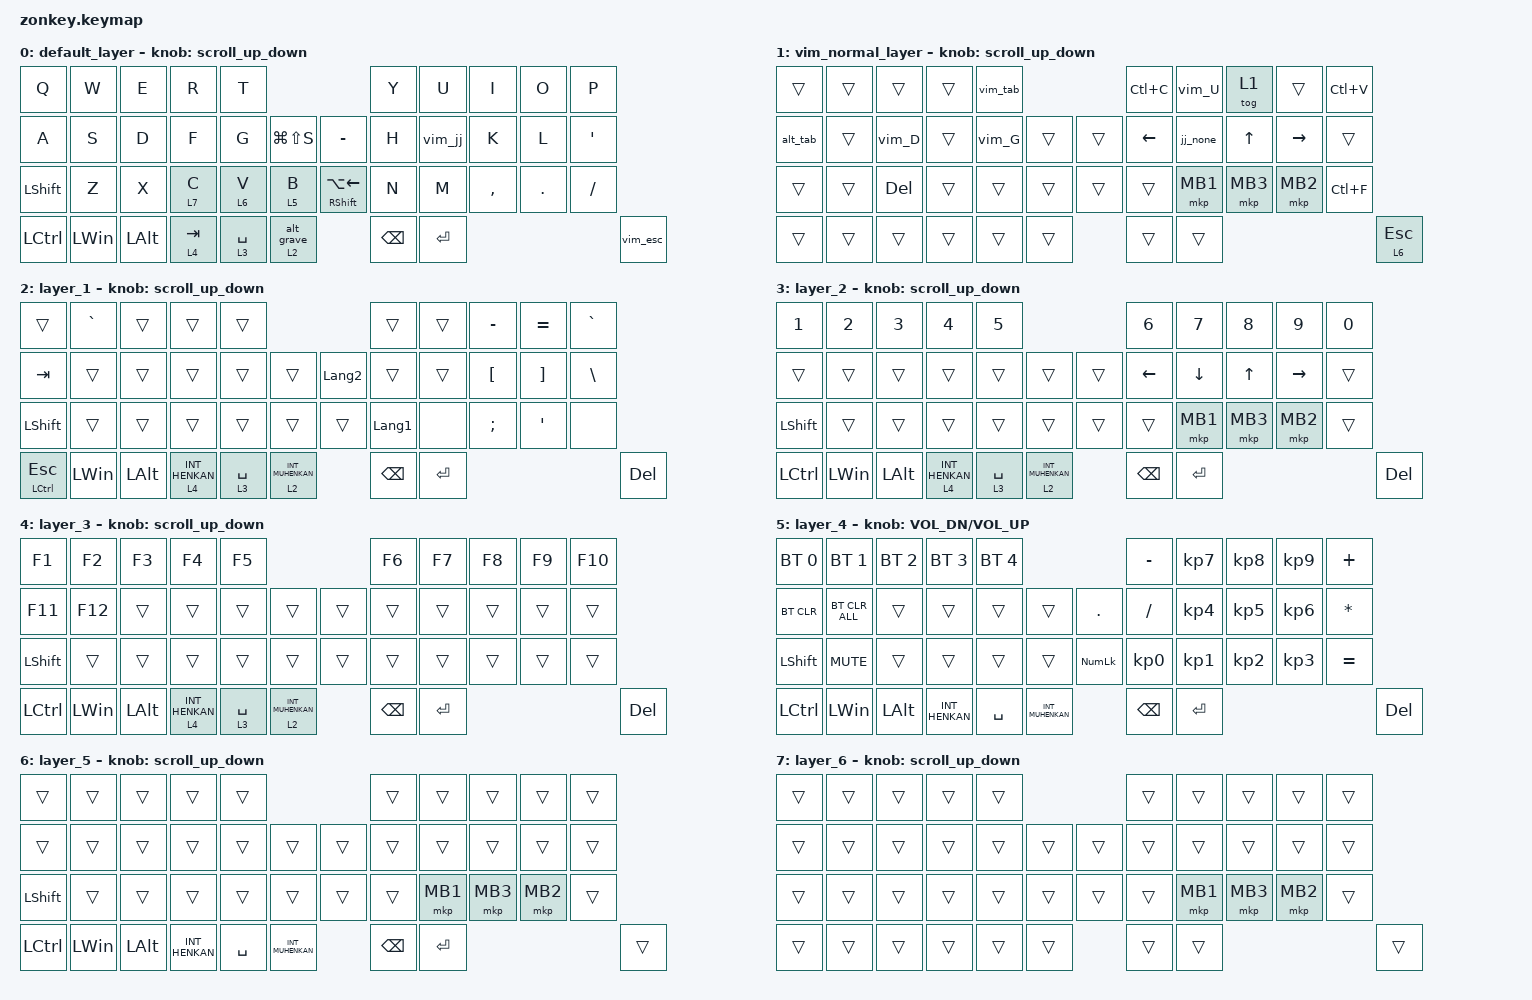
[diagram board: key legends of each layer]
#include <behaviors.dtsi>
#include <dt-bindings/zmk/bt.h>
#include <dt-bindings/zmk/keys.h>
#include <dt-bindings/zmk/pointing.h>

#define ZMK_POINTING_DEFAULT_SCRL_VAL 100
#define MOUSE 6
#define JP_DQUOTE       AT                // "
#define JP_AMPERSAND    CARET             // &
#define JP_QUOTE        AMPERSAND         // '
#define JP_EQUAL        UNDER             // =
#define JP_CARET        EQUAL             // ^
#define JP_YEN          0x89              // ¥
#define JP_PLUS         COLON             // +
#define JP_TILDE        PLUS              // ~
#define JP_PIPE         LS(0x89)          // |
#define JP_AT           LEFT_BRACKET      // @
#define JP_COLON        SINGLE_QUOTE      // :
#define JP_ASTERISK     DOUBLE_QUOTES     // *
#define JP_BACKQUOTE    LEFT_BRACE        // `
#define JP_UNDERSCORE   LS(0x87)          // _
#define JP_LBRACKET     RIGHT_BRACKET     // [
#define JP_RBRACKET     BACKSLASH         // ]
#define JP_LPAREN       ASTERISK          // (
#define JP_RPAREN       LEFT_PARENTHESIS  // )
#define JP_LBRACE       RIGHT_BRACE       // {
#define JP_RBRACE       PIPE              // }
#define JP_KANA         LANGUAGE_1        // かな
#define JP_EISU         LANGUAGE_2        // 英数
#define JP_HANZEN       GRAVE             // 半角/全角
#define JP_BSLH  INT1         // (backslash)

&mt {
    flavor = "balanced";
    quick-tap-ms = <0>;
};

/ {
    combos { compatible = "zmk,combos"; };

    macros {
        to_layer_0: to_layer_0 {
            compatible = "zmk,behavior-macro-one-param";
            #binding-cells = <1>;
            bindings = <&to 0 &macro_param_1to1 &kp MACRO_PLACEHOLDER>;
            label = "TO_LAYER_0";
        };

        alt_grave: alt_grave {
            compatible = "zmk,behavior-macro";
            #binding-cells = <0>;
            bindings =
                <&macro_press>,
                <&kp LEFT_ALT>,
                <&macro_wait_time 100>,
                <&macro_tap>,
                <&kp GRAVE>,
                <&macro_release>,
                <&kp LEFT_ALT>;

            label = "ALT_GRAVE";
        };
    };

    behaviors {
        lt_to_layer_0: lt_to_layer_0 {
            compatible = "zmk,behavior-hold-tap";
            label = "LAYER_TAP_TO_0";
            bindings = <&mo>, <&to_layer_0>;

            #binding-cells = <2>;
            tapping-term-ms = <200>;
        };

        scroll_up_down: behavior_sensor_rotate_mouse_wheel_up_down {
            compatible = "zmk,behavior-sensor-rotate";
            #sensor-binding-cells = <0>;
            bindings = <&msc SCRL_DOWN>, <&msc SCRL_UP>;

            tap-ms = <20>;
        };

        vim_U: vim_U {
            compatible = "zmk,behavior-mod-morph";
            label = "VIM_U";
            #binding-cells = <0>;
            bindings = <&kp LC(Z)>, <&kp PAGE_UP>;

            mods = <(MOD_LCTL)>;
        };

        vim_D: vim_D {
            compatible = "zmk,behavior-mod-morph";
            label = "VIM_D";
            #binding-cells = <0>;
            bindings = <&kp LC(X)>, <&kp PAGE_DOWN>;

            mods = <(MOD_LCTL)>;
        };

        vim_jj: vim_jj {
            compatible = "zmk,behavior-tap-dance";
            label = "VIM_JJ";
            #binding-cells = <0>;
            bindings = <&kp J>, <&tog 1>;
        };

        vim_gg: vim_gg {
            compatible = "zmk,behavior-tap-dance";
            label = "VIM_GG";
            #binding-cells = <0>;
            bindings = <&sk RIGHT_CONTROL>, <&kp HOME>;
        };

        vim_G: vim_G {
            compatible = "zmk,behavior-mod-morph";
            label = "VIM_G";
            bindings = <&vim_gg>, <&kp END>;

            #binding-cells = <0>;
            mods = <(MOD_LSFT)>;
        };

        vim_esc: vim_esc {
            compatible = "zmk,behavior-tap-dance";
            label = "VIM_ESC";
            #binding-cells = <0>;
            bindings = <&lt 6 ESC>, <&tog 1>;
        };

        lt2_alt_grave: lt2_alt_grave {
            compatible = "zmk,behavior-hold-tap";
            label = "LT2_ALT_GRAVE";
            bindings = <&mo>, <&alt_grave>;

            #binding-cells = <2>;
            tapping-term-ms = <200>;
        };

        vim_tab: vim_tab {
            compatible = "zmk,behavior-mod-morph";
            label = "VIM_TAB";
            bindings = <&kp T>, <&kp TAB>;

            #binding-cells = <0>;
            mods = <(MOD_RCTL)>;
            keep-mods = <(MOD_RCTL)>;
        };

        alt_tab: alt_tab {
            compatible = "zmk,behavior-mod-morph";
            label = "ALT_TAB";
            bindings = <&mt LCTRL A>, <&kp TAB>;

            #binding-cells = <0>;
            mods = <(MOD_LALT)>;
            keep-mods = <(MOD_LALT)>;
        };

        jj_none: jj_none {
            compatible = "zmk,behavior-tap-dance";
            label = "JJ_NONE";
            #binding-cells = <0>;
            bindings =
                <&kp DOWN>,
                <&none>,
                <&none>,
                <&none>,
                <&none>,
                <&none>,
                <&none>,
                <&none>;

            tapping-term-ms = <50>;
        };
    };

    keymap {
        compatible = "zmk,keymap";

        default_layer {
            // -----------------------------------------------------------------------------------------
            // |  Q  |  W  |  E  |  R  |  T  |                        |  Y  |  U   |  I  |  O  |  P  | 
            // |  A  |  S  |  D  |  F  |  G  |LS(LG(S))|        　 | - |  H  |  J   |  K  |  L  |  `  | 
            // |SHIFT|  Z  |  X  |  C  |  V  |  B  |           | ; |  N  |  M   |  ,  |  .  |  /  | 
            // | CTRL | WIN | ALT |HENKAN|SPACE|MUHENKAN|       | BS | ENT |      　　　　       | DEL |           

            bindings = <
&kp Q           &kp W         &kp E         &kp R      &kp T                                                              &kp Y          &kp U      &kp I      &kp O    &kp P
&kp A           &kp S         &kp D         &kp F      &kp G        &kp LG(LS(S))         &kp MINUS                       &kp H          &vim_jj    &kp K      &kp L    &kp SQT
&kp LEFT_SHIFT  &kp Z         &kp X         &lt 7 C    &lt 6 V      &lt 5 B               &mt RIGHT_SHIFT LA(LEFT_ARROW)  &kp N          &kp M      &kp COMMA  &kp DOT  &kp SLASH
&kp LCTRL       &kp LEFT_WIN  &kp LEFT_ALT  &lt 4 TAB  &lt 3 SPACE  &lt2_alt_grave 2 0                                    &kp BACKSPACE  &kp ENTER                                 &vim_esc
            >;

            sensor-bindings = <&scroll_up_down>;
        };

        vim_normal_layer {
            bindings = <
&trans    &trans  &trans      &trans  &vim_tab                    &kp LC(C)       &vim_U    &tog 1        &trans           &kp LC(V)
&alt_tab  &trans  &vim_D      &trans  &vim_G    &trans    &trans  &kp LEFT_ARROW  &jj_none  &kp UP_ARROW  &kp RIGHT_ARROW  &trans
&trans    &trans  &kp DELETE  &trans  &trans    &trans    &trans  &trans          &mkp MB1  &mkp MB3      &mkp MB2         &kp LC(F)
&trans    &trans  &trans      &trans  &trans    &trans            &trans          &trans                                              &lt 6 ESCAPE
            >;

            sensor-bindings = <&scroll_up_down>;
        };

        layer_1 {
            // -----------------------------------------------------------------------------------------
            // | 半角/全角 |CAPS|     |     |     |                     |     |     |  -  |  ^  |  ¥  |
            // | TAB |     |     |     |     |     |              |    |     |     |     |  @  |  [  |
            // |SHIFT|     |     |     |     |     |            | 英数 | かな |     |     |     |  ]  |
            // | CTRL| WIN | ALT |HENKAN|SPACE|MUHENKAN|         | BS | ENT |                   | DEL |

            bindings = <
&trans          &kp GRAVE     &trans        &trans            &trans                                          &trans         &trans     &kp MINUS         &kp EQUAL          &kp GRAVE
&kp TAB         &trans        &trans        &trans            &trans       &trans                &kp JP_EISU  &trans         &trans     &kp LEFT_BRACKET  &kp RIGHT_BRACKET  &kp BACKSLASH
&kp LEFT_SHIFT  &trans        &trans        &trans            &trans       &trans                &trans       &kp JP_KANA    &none      &kp SEMICOLON     &kp SQT            &none
&mt LCTL ESC    &kp LEFT_WIN  &kp LEFT_ALT  &lt 4 INT_HENKAN  &lt 3 SPACE  &lt 2 INT_MUHENKAN                 &kp BACKSPACE  &kp ENTER                                                      &kp DEL
            >;

            sensor-bindings = <&scroll_up_down>;
        };

        layer_2 {
            // -----------------------------------------------------------------------------------------
            // |  1  |  2  |  3  |  4  |  5  |                     |  6  |  7  |  8  |  9  |   0  |
            // |      |     |     |     |     |     |           |    |     |     |     |  ↑  |      |
            // |SHIFT|     |     |     |     |     |           |     |     |     |  ←  |  ↓  |  →  |
            // | CTRL| WIN | ALT |HENKAN|SPACE|MUHENKAN|         | BS | ENT |                   | DEL |

            bindings = <
&kp N1          &kp N2        &kp N3        &kp N4            &kp N5                                     &kp N6          &kp N7          &kp N8        &kp N9           &kp N0
&trans          &trans        &trans        &trans            &trans       &trans                &trans  &kp LEFT_ARROW  &kp DOWN_ARROW  &kp UP_ARROW  &kp RIGHT_ARROW  &trans
&kp LEFT_SHIFT  &trans        &trans        &trans            &trans       &trans                &trans  &trans          &mkp MB1        &mkp MB3      &mkp MB2         &trans
&kp LCTRL       &kp LEFT_WIN  &kp LEFT_ALT  &lt 4 INT_HENKAN  &lt 3 SPACE  &lt 2 INT_MUHENKAN            &kp BACKSPACE   &kp ENTER                                              &kp DEL
            >;

            sensor-bindings = <&scroll_up_down>;
        };

        layer_3 {
            // -----------------------------------------------------------------------------------------
            // | F1  | F2  | F3  | F4  | F5  |                     | F6  | F7 | F8  | F9 | F10 |
            // | F11 | F12 |     |     |     |     |           |    |     |     |     |     |      |
            // |SHIFT|     |     |     |     |     |           |     |     |     |     |     |      |
            // | CTRL| WIN | ALT |HENKAN|SPACE|MUHENKAN|         | BS | ENT |                   | DEL |

            bindings = <
&kp F1          &kp F2        &kp F3        &kp F4            &kp F5                                     &kp F6         &kp F7     &kp F8  &kp F9  &kp F10
&kp F11         &kp F12       &trans        &trans            &trans       &trans                &trans  &trans         &trans     &trans  &trans  &trans
&kp LEFT_SHIFT  &trans        &trans        &trans            &trans       &trans                &trans  &trans         &trans     &trans  &trans  &trans
&kp LCTRL       &kp LEFT_WIN  &kp LEFT_ALT  &lt 4 INT_HENKAN  &lt 3 SPACE  &lt 2 INT_MUHENKAN            &kp BACKSPACE  &kp ENTER                           &kp DEL
            >;

            sensor-bindings = <&scroll_up_down>;
        };

        layer_4 {
            // -----------------------------------------------------------------------------------------
            // | BT0 | BT1 | BT2 | BT3 | BT4 |                |  -  |  7  |  8  |  9  |  +  |
            // |BTCLR |     |     |     |     |     |           |  /  |  4  |  5  |  6  |  *  | 
            // |SHIFT|     |     |     |     |     |           |  0  |  1  |  2  |   3 |  .  |  =  |
            // | CTRL| WIN | ALT |HENKAN|SPACE|MUHENKAN|        | BS | ENT |                  | DEL |

            bindings = <
&bt BT_SEL 0    &bt BT_SEL 1    &bt BT_SEL 2  &bt BT_SEL 3    &bt BT_SEL 4                                      &kp MINUS        &kp KP_NUMBER_7  &kp KP_NUMBER_8  &kp KP_NUMBER_9  &kp PLUS
&bt BT_CLR      &bt BT_CLR_ALL  &trans        &trans          &trans        &trans              &kp PERIOD      &kp SLASH        &kp KP_NUMBER_4  &kp KP_NUMBER_5  &kp KP_NUMBER_6  &kp ASTERISK
&kp LEFT_SHIFT  &kp C_MUTE      &trans        &trans          &trans        &trans              &kp KP_NUMLOCK  &kp KP_NUMBER_0  &kp KP_NUMBER_1  &kp KP_NUMBER_2  &kp KP_NUMBER_3  &kp EQUAL
&kp LCTRL       &kp LEFT_WIN    &kp LEFT_ALT  &kp INT_HENKAN  &kp SPACE     &kp INT_MUHENKAN                    &kp BACKSPACE    &kp ENTER                                                        &kp DEL
            >;

            sensor-bindings = <&inc_dec_kp C_VOL_DN C_VOL_UP>;
        };

        layer_5 {
            // -----------------------------------------------------------------------------------------
            // |      |     |     |     |     |                     |     |     |     |     |      |
            // |      |     |     |     |     |     |           |    |     |     |     |     |      |
            // |SHIFT|     |     |     |     |     |          |     |     |     |     |     |      |
            // | CTRL| WIN | ALT |HENKAN|SPACE|MUHENKAN|        | BS | ENT |                  | DEL |

            bindings = <
&trans          &trans        &trans        &trans          &trans                                 &trans         &trans     &trans    &trans    &trans
&trans          &trans        &trans        &trans          &trans     &trans              &trans  &trans         &trans     &trans    &trans    &trans
&kp LEFT_SHIFT  &trans        &trans        &trans          &trans     &trans              &trans  &trans         &mkp MB1   &mkp MB3  &mkp MB2  &trans
&kp LCTRL       &kp LEFT_WIN  &kp LEFT_ALT  &kp INT_HENKAN  &kp SPACE  &kp INT_MUHENKAN            &kp BACKSPACE  &kp ENTER                              &trans
            >;

            sensor-bindings = <&scroll_up_down>;
        };

        layer_6 {
            bindings = <
&trans  &trans  &trans  &trans  &trans                    &trans  &trans    &trans    &trans    &trans
&trans  &trans  &trans  &trans  &trans  &trans    &trans  &trans  &trans    &trans    &trans    &trans
&trans  &trans  &trans  &trans  &trans  &trans    &trans  &trans  &mkp MB1  &mkp MB3  &mkp MB2  &trans
&trans  &trans  &trans  &trans  &trans  &trans            &trans  &trans                                &trans
            >;

            sensor-bindings = <&scroll_up_down>;
        };
    };
};
